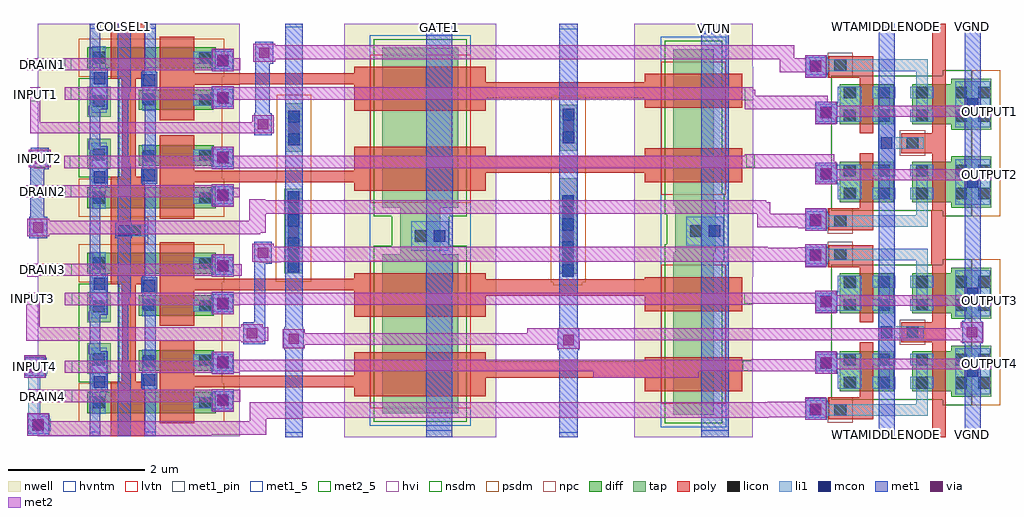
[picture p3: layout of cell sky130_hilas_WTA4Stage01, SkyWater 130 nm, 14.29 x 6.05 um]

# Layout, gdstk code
from math import pi, radians
import gdstk
lib = gdstk.Library(unit=1e-6, precision=1e-09)
def R(c, l, rs):  # rectangles x0, y0, x1, y1
    for r in rs: c.add(gdstk.rectangle(r[:2], r[2:], *l))
def A(c, l, x, y, w, h, nx, ny, dx, dy):  # array of equal rectangles
    R(c, l, [(x+i*dx, y+j*dy, x+i*dx+w, y+j*dy+h) for i in range(nx) for j in range(ny)])
nwell = (64, 20)
diff = (65, 20)
tap = (65, 44)
poly = (66, 20)
licon = (66, 44)
li1 = (67, 20)
mcon = (67, 44)
met1_5 = (68, 5)
met1_pin = (68, 16)
met1 = (68, 20)
via = (68, 44)
met2_5 = (69, 5)
met2 = (69, 20)
hvi = (75, 20)
nsdm = (93, 44)
psdm = (94, 20)
npc = (95, 20)
hvntm = (125, 20)
lvtn = (125, 44)

sky130_hilas_tuncap01 = lib.new_cell('sky130_hilas_TunCap01')
R(sky130_hilas_tuncap01, nwell, [(-14.51,-4,-12.78,-2.1)])
R(sky130_hilas_tuncap01, tap, [(-13.94,-3.67,-13.35,-2.47)])
R(sky130_hilas_tuncap01, poly, [(-14.36,-3.33,-12.93,-2.83)])
R(sky130_hilas_tuncap01, hvi, [(-14.51,-4,-12.78,-2.1)])
R(sky130_hilas_tuncap01, nsdm, [(-14.065,-3.795,-13.225,-2.345)])
R(sky130_hilas_tuncap01, hvntm, [(-14.125,-3.855,-13.165,-2.285)])
R(sky130_hilas_tuncap01, lvtn, [(-14.12,-3.51,-13.17,-2.65)])

sky130_hilas_fgvaractorc = lib.new_cell('sky130_hilas_FGVaractorCapacitor')
R(sky130_hilas_fgvaractorc, nwell, [(-9.57,-3.95,-7.34,-2.1)])
R(sky130_hilas_fgvaractorc, tap, [(-9.01,-3.61,-7.9,-2.44)])
R(sky130_hilas_fgvaractorc, poly, [(-9.41,-3.36,-7.49,-2.72)])
R(sky130_hilas_fgvaractorc, met1, [(-8.92,-3.95,-8.54,-2.09)])
R(sky130_hilas_fgvaractorc, hvi, [(-9.57,-3.95,-7.34,-2.1)])
R(sky130_hilas_fgvaractorc, nsdm, [(-9.135,-3.735,-7.775,-2.315)])
R(sky130_hilas_fgvaractorc, hvntm, [(-9.195,-3.795,-7.715,-2.255)])
R(sky130_hilas_fgvaractorc, lvtn, [(-9.19,-3.54,-7.72,-2.54)])

sky130_hilas_li2m2 = lib.new_cell('sky130_hilas_li2m2')
R(sky130_hilas_li2m2, li1, [(-0.13,-0.12,0.19,-0.09), (-0.13,-0.09,0.2,0.1), (-0.13,0.1,0.19,0.14)])
R(sky130_hilas_li2m2, mcon, [(-0.07,-0.08,0.1,0.09)])
R(sky130_hilas_li2m2, met1, [(-0.14,-0.15,0.18,0.17)])
R(sky130_hilas_li2m2, via, [(-0.055,-0.065,0.095,0.085)])
R(sky130_hilas_li2m2, met2, [(-0.14,-0.15,0.17,0.18)])

sky130_hilas_horizpcell0 = lib.new_cell('sky130_hilas_horizPcell01')
R(sky130_hilas_horizpcell0, nwell, [(-2.89,0.47,-0.34,0.48), (-2.89,0.48,-0.33,2.32)])
R(sky130_hilas_horizpcell0, diff, [(-2.54,0.81,-0.66,1.12), (-2.51,1.43,-1.41,1.73)])
R(sky130_hilas_horizpcell0, tap, [(-1,1.39,-0.66,1.83)])
R(sky130_hilas_horizpcell0, poly, [(-1.5,0.47,-1,1.27), (-2.22,0.66,-1.72,1.19), (-2.89,1.19,-1.72,1.36), (-1.37,1.27,-1.16,1.58), (-2.22,1.36,-1.72,1.88), (-1.37,1.58,-1.17,1.99)])
R(sky130_hilas_horizpcell0, licon, [(-2.465,0.88,-2.295,1.05), (-0.915,0.88,-0.745,1.05), (-1.64,1.49,-1.47,1.66), (-2.465,1.5,-2.295,1.67), (-0.915,1.515,-0.745,1.685)])
R(sky130_hilas_horizpcell0, li1, [(-0.93,0.8,-0.73,1.15), (-2.55,0.88,-2.21,1.05), (-0.93,1.15,-0.72,1.18), (-1.66,1.17,-1.46,1.74), (-0.94,1.18,-0.72,1.77), (-2.55,1.5,-2.21,1.67)])
R(sky130_hilas_horizpcell0, mcon, [(-0.92,1.18,-0.75,1.35), (-1.65,1.21,-1.48,1.38)])
R(sky130_hilas_horizpcell0, met1, [(-1.66,0.47,-1.5,1.15), (-1.29,0.47,-1.1,1.46), (-0.85,0.47,-0.69,1.12), (-0.96,1.12,-0.69,1.67), (-1.66,1.15,-1.46,1.17), (-1.68,1.17,-1.45,1.41), (-1.66,1.41,-1.46,1.63), (-1.27,1.46,-1.1,1.58), (-1.26,1.58,-1.1,2.32), (-1.66,1.63,-1.5,2.32), (-0.96,1.67,-0.68,1.72), (-0.85,1.72,-0.68,1.81), (-0.85,1.81,-0.69,2.32)])
R(sky130_hilas_horizpcell0, met2, [(-2.51,0.97,-0.33,1.15), (-2.89,1.4,-2.8,1.58), (-2.5,1.4,-0.33,1.58)])
R(sky130_hilas_horizpcell0, hvi, [(-2.89,0.47,-0.34,0.48), (-2.89,0.48,-0.33,2.32)])
R(sky130_hilas_horizpcell0, nsdm, [(-1.125,1.265,-0.535,1.955)])
R(sky130_hilas_horizpcell0, psdm, [(-2.665,0.685,-0.535,1.245), (-2.635,1.245,-1.285,1.855)])
sky130_hilas_horizpcell0.add(gdstk.Reference(sky130_hilas_li2m2, (-2.66,1.01), x_reflection=True))
sky130_hilas_horizpcell0.add(gdstk.Reference(sky130_hilas_li2m2, (-2.66,1.56), x_reflection=True))

sky130_hilas_wellcontact = lib.new_cell('sky130_hilas_wellContact')
R(sky130_hilas_wellcontact, nwell, [(-14.49,-4.4,-12.75,-2.56)])
R(sky130_hilas_wellcontact, tap, [(-13.94,-4.05,-13.35,-3.31)])
R(sky130_hilas_wellcontact, licon, [(-13.735,-3.82,-13.565,-3.65)])
R(sky130_hilas_wellcontact, li1, [(-14.06,-3.95,-13.51,-3.52)])
R(sky130_hilas_wellcontact, mcon, [(-14.01,-3.82,-13.84,-3.65)])
R(sky130_hilas_wellcontact, met1, [(-14.12,-4.41,-13.73,-2.55)])
R(sky130_hilas_wellcontact, hvi, [(-14.49,-4.4,-12.75,-2.56)])
R(sky130_hilas_wellcontact, nsdm, [(-14.065,-4.175,-13.225,-3.185)])

sky130_hilas_swc4x1biasc = lib.new_cell('sky130_hilas_swc4x1BiasCell')
R(sky130_hilas_swc4x1biasc, nwell, [(1.12,-3.82,3.35,-3.8), (6.32,-0.88,6.49,-0.72), (6.66,-0.88,6.67,-0.72), (6.32,-0.72,6.67,-0.71), (4.88,-0.21,4.97,-0.13), (-2.64,0.37,-2.63,1.6), (1.12,2.2,3.35,2.23)])
R(sky130_hilas_swc4x1biasc, tap, [(-0.01,-1.47,0.16,-1.43), (-0.06,-1.43,0.2,-0.03), (3.96,-1.42,4.23,-0.18), (3.96,0.36,4.21,1.07), (-0.06,0.37,0.19,1.05)])
R(sky130_hilas_swc4x1biasc, poly, [(3.2,-3.09,4.88,-2.92), (-1.05,-2.95,1.32,-2.71), (-1.07,-1.75,1.3,-1.51), (3.2,-1.67,4.88,-1.5), (6.32,-0.88,6.49,-0.72), (6.65,-0.88,6.67,-0.72), (6.32,-0.72,6.67,-0.71), (3.19,-0.09,4.88,0.08), (-1.07,0.05,1.28,0.29), (-1.07,1.14,1.3,1.38), (3.19,1.35,4.88,1.47), (3.19,1.47,4.89,1.51)])
A(sky130_hilas_swc4x1biasc, licon, -0.01, -1.3, 0.17, 0.17, 1, 3, 0, 0.34)
A(sky130_hilas_swc4x1biasc, licon, 4.01, -1.24, 0.17, 0.17, 1, 3, 0, 0.34)
R(sky130_hilas_swc4x1biasc, licon, [(6.32,-0.88,6.49,-0.71), (4,0.62,4.17,0.79), (-0.02,0.65,0.15,0.82)])
R(sky130_hilas_swc4x1biasc, li1, [(-0.01,-1.47,0.16,-0.28), (4.01,-1.41,4.18,-0.22), (6.23,-0.88,6.67,-0.71), (4,0.45,4.17,0.96), (-0.02,0.48,0.15,0.99)])
A(sky130_hilas_swc4x1biasc, mcon, -0.01, -1.47, 0.17, 0.17, 1, 4, 0, 0.34)
A(sky130_hilas_swc4x1biasc, mcon, 4.01, -1.41, 0.17, 0.17, 1, 4, 0, 0.34)
R(sky130_hilas_swc4x1biasc, mcon, [(6.495,-0.88,6.665,-0.71), (4,0.45,4.17,0.62), (-0.02,0.48,0.15,0.65), (4,0.79,4.17,0.96), (-0.02,0.82,0.15,0.99)])
R(sky130_hilas_swc4x1biasc, met1_5, [(-2.28,-3.82,-1.88,-3.72), (-0.07,-3.82,0.2,-3.75), (1.77,-3.82,2.15,-3.72), (3.96,-3.82,4.21,-3.75), (6.11,-3.81,6.27,-3.74), (6.48,-3.81,6.67,-3.74), (6.92,-3.81,7.08,-3.74), (-2.28,2.09,-1.88,2.23), (1.77,2.13,2.15,2.23), (-0.07,2.15,0.2,2.23), (6.11,2.16,6.27,2.23), (6.92,2.16,7.08,2.23), (3.96,2.18,4.21,2.23)])
R(sky130_hilas_swc4x1biasc, met1_pin, [(6.48,2.16,6.67,2.23)])
R(sky130_hilas_swc4x1biasc, met1, [(-2.28,-3.82,-1.88,2.23), (-0.07,-3.82,0.2,-2.55), (1.77,-3.82,2.15,-3.72), (3.96,-3.82,4.21,-2.54), (6.11,-3.81,6.27,-3.74), (6.48,-3.81,6.67,-3.74), (6.92,-3.81,7.08,-3.74), (-0.09,-2.55,0.22,-2.24), (3.95,-2.54,4.23,-2.52), (3.94,-2.52,4.24,-2.24), (-0.07,-2.24,0.2,2.23), (3.95,-2.24,4.23,-2.21), (3.96,-2.21,4.21,2.23), (6.56,-0.95,6.67,-0.91), (6.46,-0.91,6.7,-0.68), (6.54,-0.68,6.67,-0.66), (1.77,2.13,2.15,2.23), (6.11,2.16,6.27,2.23), (6.48,2.16,6.67,2.23), (6.92,2.16,7.08,2.23)])
R(sky130_hilas_swc4x1biasc, via, [(-0.01,-2.475,0.14,-2.325), (4.015,-2.455,4.165,-2.305)])
R(sky130_hilas_swc4x1biasc, met2_5, [(7.33,-3.31,7.44,-3.13), (7.33,-2.88,7.44,-2.7), (-2.63,-2.85,-2.49,-2.7), (7.33,-1.89,7.44,-1.71), (-2.63,-1.87,-2.51,-1.71), (7.34,-1.46,7.45,-1.28), (7.35,-0.31,7.44,-0.13), (7.36,0.12,7.45,0.3), (-2.66,0.13,-2.54,0.32), (-2.64,1.11,-2.52,1.3), (7.35,1.12,7.44,1.3), (7.35,1.55,7.44,1.73)])
R(sky130_hilas_swc4x1biasc, met2, [(7.33,-3.31,7.44,-3.13), (4.87,-3.3,5,-3.13), (-1.84,-2.95,-0.3,-2.86), (7.33,-2.88,7.44,-2.7), (-2.63,-2.86,5,-2.69), (-0.1,-2.53,0.23,-2.47), (3.93,-2.52,4.25,-2.47), (-0.1,-2.47,4.25,-2.3), (-0.1,-2.3,0.23,-2.27), (3.93,-2.3,4.25,-2.24), (7.33,-1.89,7.44,-1.71), (-2.62,-1.88,5,-1.87), (-2.63,-1.87,5,-1.71), (4.85,-1.46,5,-1.29), (7.34,-1.46,7.45,-1.28), (4.88,-0.31,5,-0.2), (7.35,-0.31,7.44,-0.13), (4.88,-0.2,4.97,-0.17), (-2.66,0.12,5,0.24), (7.36,0.12,7.45,0.3), (-2.66,0.24,4.97,0.3), (-2.66,0.3,-2.52,0.32), (-2.64,1.11,-2.49,1.12), (-2.64,1.12,5.4,1.3), (7.35,1.12,7.44,1.3), (4.87,1.55,5,1.66), (7.35,1.55,7.44,1.73), (4.87,1.66,4.97,1.73)])
R(sky130_hilas_swc4x1biasc, hvi, [(1.12,-3.82,3.35,-3.81), (-2.64,0.37,-2.63,1.6), (1.12,2.22,3.35,2.23)])
R(sky130_hilas_swc4x1biasc, nsdm, [(6.645,-2.325,7.235,-2.265), (6.645,0.675,7.235,0.745)])
R(sky130_hilas_swc4x1biasc, psdm, [(5.135,-2.425,6.485,-2.165), (-0.135,-1.595,0.285,-1.555), (-0.185,-1.555,0.325,0.095), (3.835,-1.545,4.355,-0.055), (3.835,-0.055,4.335,1.195), (-0.185,0.095,0.315,1.175), (5.135,0.575,6.485,0.845)])
R(sky130_hilas_swc4x1biasc, npc, [(6.22,-0.98,6.59,-0.61)])
R(sky130_hilas_swc4x1biasc, hvntm, [(-2.275,-1.305,-2.245,-0.935), (1.495,-0.955,2.975,-0.645), (-2.275,-0.935,-1.285,-0.615), (-2.275,-0.615,-2.245,-0.195)])
R(sky130_hilas_swc4x1biasc, lvtn, [(-2.24,-2.47,-1.29,-2.16), (1.5,-2.4,2.97,-2.24), (-2.24,0.59,-1.29,0.82), (1.5,0.61,2.97,0.78)])
sky130_hilas_swc4x1biasc.add(gdstk.Reference(sky130_hilas_tuncap01, (11.88,0.18)))
sky130_hilas_swc4x1biasc.add(gdstk.Reference(sky130_hilas_tuncap01, (11.88,1.35)))
sky130_hilas_swc4x1biasc.add(gdstk.Reference(sky130_hilas_fgvaractorc, (10.69,0.14)))
sky130_hilas_swc4x1biasc.add(gdstk.Reference(sky130_hilas_fgvaractorc, (10.69,1.3)))
sky130_hilas_swc4x1biasc.add(gdstk.Reference(sky130_hilas_horizpcell0, (7.77,-4.28)))
sky130_hilas_swc4x1biasc.add(gdstk.Reference(sky130_hilas_horizpcell0, (7.77,-0.31), x_reflection=True))
sky130_hilas_swc4x1biasc.add(gdstk.Reference(sky130_hilas_tuncap01, (11.88,3.24)))
sky130_hilas_swc4x1biasc.add(gdstk.Reference(sky130_hilas_wellcontact, (11.85,2.93)))
sky130_hilas_swc4x1biasc.add(gdstk.Reference(sky130_hilas_fgvaractorc, (10.69,3.15)))
sky130_hilas_swc4x1biasc.add(gdstk.Reference(sky130_hilas_wellcontact, (15.88,2.86)))
sky130_hilas_swc4x1biasc.add(gdstk.Reference(sky130_hilas_horizpcell0, (7.77,-1.28)))
sky130_hilas_swc4x1biasc.add(gdstk.Reference(sky130_hilas_tuncap01, (11.88,4.33)))
sky130_hilas_swc4x1biasc.add(gdstk.Reference(sky130_hilas_fgvaractorc, (10.69,4.32)))
sky130_hilas_swc4x1biasc.add(gdstk.Reference(sky130_hilas_horizpcell0, (7.77,2.7), x_reflection=True))
sky130_hilas_swc4x1biasc.add(gdstk.Label('COLSEL1', (6.575,2.195), layer=68, texttype=16))
sky130_hilas_swc4x1biasc.add(gdstk.Label('ROW1', (-2.58,1.205), layer=69, texttype=5))
sky130_hilas_swc4x1biasc.add(gdstk.Label('ROW2', (-2.6,0.225), layer=69, texttype=5))
sky130_hilas_swc4x1biasc.add(gdstk.Label('ROW3', (-2.57,-1.79), layer=69, texttype=5))
sky130_hilas_swc4x1biasc.add(gdstk.Label('ROW4', (-2.56,-2.775), layer=69, texttype=5))
sky130_hilas_swc4x1biasc.add(gdstk.Label('VTUN', (-2.08,2.16), layer=68, texttype=5))
sky130_hilas_swc4x1biasc.add(gdstk.Label('VTUN', (-2.08,-3.77), layer=68, texttype=5))
sky130_hilas_swc4x1biasc.add(gdstk.Label('GATE1', (1.96,-3.77), layer=68, texttype=5))
sky130_hilas_swc4x1biasc.add(gdstk.Label('GATE1', (1.96,2.18), layer=68, texttype=5))
sky130_hilas_swc4x1biasc.add(gdstk.Label('VINJ', (7,2.195), layer=68, texttype=5))
sky130_hilas_swc4x1biasc.add(gdstk.Label('VINJ', (7,-3.775), layer=68, texttype=5))
sky130_hilas_swc4x1biasc.add(gdstk.Label('VPWR', (6.19,2.195), layer=68, texttype=5))
sky130_hilas_swc4x1biasc.add(gdstk.Label('VPWR', (6.19,-3.775), layer=68, texttype=5))
sky130_hilas_swc4x1biasc.add(gdstk.Label('COLSEL1', (6.575,-3.775), layer=68, texttype=5))
sky130_hilas_swc4x1biasc.add(gdstk.Label('DRAIN1', (7.395,1.64), layer=69, texttype=5))
sky130_hilas_swc4x1biasc.add(gdstk.Label('ROW1', (7.395,1.21), layer=69, texttype=5))
sky130_hilas_swc4x1biasc.add(gdstk.Label('ROW2', (7.405,0.21), layer=69, texttype=5))
sky130_hilas_swc4x1biasc.add(gdstk.Label('DRAIN2', (7.395,-0.22), layer=69, texttype=5))
sky130_hilas_swc4x1biasc.add(gdstk.Label('DRAIN3', (7.395,-1.37), layer=69, texttype=5))
sky130_hilas_swc4x1biasc.add(gdstk.Label('ROW3', (7.385,-1.8), layer=69, texttype=5))
sky130_hilas_swc4x1biasc.add(gdstk.Label('ROW4', (7.385,-2.79), layer=69, texttype=5))
sky130_hilas_swc4x1biasc.add(gdstk.Label('DRAIN4', (7.385,-3.22), layer=69, texttype=5))
sky130_hilas_swc4x1biasc.add(gdstk.Label('VGND', (0.065,2.19), layer=68, texttype=5))
sky130_hilas_swc4x1biasc.add(gdstk.Label('VGND', (4.085,2.205), layer=68, texttype=5))
sky130_hilas_swc4x1biasc.add(gdstk.Label('VGND', (0.065,-3.785), layer=68, texttype=5))
sky130_hilas_swc4x1biasc.add(gdstk.Label('VGND', (4.085,-3.785), layer=68, texttype=5))

sky130_hilas_wtasinglest = lib.new_cell('sky130_hilas_WTAsinglestage01')
R(sky130_hilas_wtasinglest, diff, [(1.16,-0.42,1.46,-0.34), (-0.47,-0.34,0.32,0.25), (0.59,-0.34,1.46,0.25), (1.16,0.25,1.46,0.33)])
R(sky130_hilas_wtasinglest, tap, [(1.46,-0.42,1.75,0.33)])
R(sky130_hilas_wtasinglest, poly, [(-0.63,-0.75,0.02,-0.43), (0.88,-0.47,1.08,0.38), (-0.18,-0.43,0.02,0.38), (0.43,0.38,1.08,0.66)])
R(sky130_hilas_wtasinglest, licon, [(-0.55,-0.7,-0.38,-0.53), (-0.41,-0.3,-0.24,-0.13), (0.09,-0.3,0.26,-0.13), (0.65,-0.3,0.82,-0.13), (1.22,-0.3,1.39,-0.13), (1.56,-0.3,1.73,-0.13), (-0.41,0.04,-0.24,0.21), (0.09,0.04,0.26,0.21), (0.65,0.04,0.82,0.21), (1.22,0.04,1.39,0.21), (1.56,0.04,1.73,0.21), (0.51,0.44,0.68,0.61)])
R(sky130_hilas_wtasinglest, li1, [(-0.64,-0.7,0.82,-0.53), (0.65,-0.53,0.82,-0.3), (1.22,-0.38,1.73,0.29), (-0.5,-0.3,-0.16,0.21), (0.01,-0.3,0.34,-0.13), (0.56,-0.3,0.9,-0.13), (0.09,-0.13,0.26,0.04), (0.65,-0.13,0.82,0.04), (0.01,0.04,0.34,0.21), (0.56,0.04,0.9,0.21), (0.09,0.21,0.34,0.44), (0.09,0.44,0.76,0.61), (0.11,0.61,0.32,0.63)])
R(sky130_hilas_wtasinglest, mcon, [(1.39,-0.13,1.56,0.04), (0.13,0.44,0.3,0.61)])
R(sky130_hilas_wtasinglest, met1, [(0.1,-0.76,0.33,0.67), (1.36,-0.76,1.59,0.53)])
R(sky130_hilas_wtasinglest, met2, [(-1.08,-0.72,-0.96,-0.51), (-0.54,-0.02,1.75,0.14)])
R(sky130_hilas_wtasinglest, nsdm, [(1.035,-0.545,1.46,-0.465), (-0.595,-0.465,1.46,0.375), (1.035,0.375,1.46,0.455)])
R(sky130_hilas_wtasinglest, psdm, [(1.46,-0.545,1.875,0.455)])
R(sky130_hilas_wtasinglest, npc, [(-0.65,-0.8,-0.28,-0.43), (0.41,0.34,0.78,0.71)])
sky130_hilas_wtasinglest.add(gdstk.Reference(sky130_hilas_li2m2, (-0.69,0.07)))
sky130_hilas_wtasinglest.add(gdstk.Reference(sky130_hilas_li2m2, (-0.84,-0.61)))

sky130_hilas_wta4stage01 = lib.new_cell('sky130_hilas_WTA4stage01')
R(sky130_hilas_wta4stage01, poly, [(1.42,0.01,1.62,0.3), (1.41,2.29,1.62,3.08), (1.42,5.06,1.62,5.35)])
R(sky130_hilas_wta4stage01, met1, [(0.64,2.58,0.87,2.78), (1.9,2.58,2.13,2.79)])
R(sky130_hilas_wta4stage01, nsdm, [(-0.055,1.145,1.575,1.225), (-0.055,1.225,2,1.365), (-0.055,1.365,1.575,1.445), (-0.055,3.915,1.575,3.995), (-0.055,3.995,2,4.135), (-0.055,4.135,1.575,4.215)])
R(sky130_hilas_wta4stage01, psdm, [(2,1.225,2.415,1.365), (2,3.995,2.415,4.135)])
sky130_hilas_wta4stage01.add(gdstk.Reference(sky130_hilas_wtasinglest, (0.54,0.77)))
sky130_hilas_wta4stage01.add(gdstk.Reference(sky130_hilas_wtasinglest, (0.54,1.82), x_reflection=True))
sky130_hilas_wta4stage01.add(gdstk.Reference(sky130_hilas_wtasinglest, (0.54,4.59), x_reflection=True))
sky130_hilas_wta4stage01.add(gdstk.Reference(sky130_hilas_wtasinglest, (0.54,3.54)))

sky130_hilas_m12m2 = lib.new_cell('sky130_hilas_m12m2')
R(sky130_hilas_m12m2, met1, [(-0.06,-0.1,0.2,0.22)])
R(sky130_hilas_m12m2, via, [(-0.005,-0.015,0.145,0.135)])
R(sky130_hilas_m12m2, met2, [(-0.09,-0.07,0.23,0.19)])

c_sky130_hilas_wta4stage01 = lib.new_cell('sky130_hilas_WTA4Stage01')
R(c_sky130_hilas_wta4stage01, nwell, [(-11.01,-0.42,-10.6,2.54), (-11.12,2.54,-10.6,3.69), (-11.01,3.69,-10.6,5.45), (-11.01,5.45,-10.42,5.46), (-11.01,5.46,-10.6,5.61), (-1.29,5.48,-0.89,5.62), (-5.32,5.52,-4.94,5.62), (-11.01,5.61,-8.05,5.62)])
R(c_sky130_hilas_wta4stage01, poly, [(2.09,-0.43,2.29,-0.18), (2.09,5.16,2.29,5.62)])
R(c_sky130_hilas_wta4stage01, li1, [(-11.15,-0.22,-10.97,0.67)])
R(c_sky130_hilas_wta4stage01, met1_5, [(1.31,-0.43,1.54,-0.37), (2.57,-0.43,2.8,-0.37), (-1.29,5.48,-0.89,5.62), (-5.31,5.52,-4.95,5.62), (-10.25,5.55,-10.09,5.62), (-9.84,5.55,-9.65,5.62), (-9.44,5.55,-9.28,5.62), (1.31,5.56,1.54,5.62), (2.57,5.56,2.8,5.62)])
R(c_sky130_hilas_wta4stage01, met1, [(-5.32,-0.43,-4.94,-0.33), (1.31,-0.43,1.54,-0.18), (2.57,-0.43,2.8,-0.18), (-7.84,0.93,-7.68,2.43), (2.53,0.94,2.83,1.26), (2.53,1.26,2.81,1.27), (2.57,1.27,2.8,1.32), (-11.12,2.54,-10.91,3.69), (-7.82,4.3,-7.61,5.04), (1.31,5.16,1.54,5.62), (2.57,5.16,2.8,5.62), (-1.29,5.48,-0.89,5.62), (-5.32,5.52,-4.94,5.62), (-10.25,5.55,-10.09,5.62), (-9.84,5.55,-9.65,5.62), (-9.44,5.55,-9.28,5.62)])
R(c_sky130_hilas_wta4stage01, via, [(2.6,1.03,2.75,1.18)])
R(c_sky130_hilas_wta4stage01, met2_5, [(-11,0.08,-10.88,0.26), (-11.19,0.47,-10.91,0.74), (2.91,0.56,2.96,0.72), (2.91,1.49,2.96,1.65), (-11.18,1.51,-10.98,1.68), (-11,1.93,-10.88,2.11), (-11,3.08,-10.88,3.26), (2.91,3.33,2.96,3.49), (-11.12,3.52,-10.86,3.78), (2.89,4.26,2.96,4.42), (-11.12,4.49,-10.97,4.69), (-11,4.94,-10.88,5.12)])
R(c_sky130_hilas_wta4stage01, met2, [(-11.14,-0.41,-8.47,-0.4), (-11.14,-0.4,-7.66,-0.2), (-7.9,-0.2,-7.66,-0.16), (-7.9,-0.16,-7.13,-0.15), (-7.9,-0.15,-0.31,-0.14), (-7.9,-0.14,0.23,0.08), (-11.14,0.08,-10.61,0.26), (-0.32,0.08,0.23,0.09), (-11.14,0.26,-10.98,0.27), (-11.19,0.47,-10.91,0.74), (-0.55,0.53,0.39,0.54), (-0.55,0.54,0.45,0.71), (1.72,0.56,2.96,0.72), (2.51,0.96,2.84,0.99), (-11.18,0.98,-7.63,1.18), (-3.84,0.99,2.84,1.16), (2.51,1.16,2.84,1.25), (-11.18,1.18,-10.98,1.68), (1.7,1.49,2.96,1.65), (-0.56,1.52,0.44,1.68), (-11.16,1.92,-11,1.93), (-11.16,1.93,-10.61,2.11), (-7.77,2.13,-7.45,2.14), (-7.77,2.14,0.24,2.34), (-7.77,2.34,-0.32,2.36), (-11.12,2.54,-7.75,2.56), (-11.12,2.56,-7.67,2.74), (-0.47,2.64,0.24,2.84), (-7.91,2.74,-7.67,2.84), (-7.91,2.84,-0.28,3.01), (-7.91,3.01,-0.34,3.04), (-7.91,3.04,-7.68,3.05), (-11.18,3.08,-10.61,3.26), (1.7,3.33,2.96,3.49), (-11.07,3.51,-10.9,3.52), (-0.55,3.51,0.66,3.71), (-11.12,3.52,-10.86,3.78), (-11.12,4.02,-7.69,4.18), (-11.12,4.18,-10.97,4.69), (1.7,4.26,2.96,4.42), (-0.65,4.37,0.56,4.57), (-0.54,4.57,-0.5,4.66), (-0.14,4.91,0.24,5.1), (-11.16,4.94,-10.61,5.12), (-7.58,5.1,0.24,5.12), (-7.58,5.12,0.07,5.31)])
R(c_sky130_hilas_wta4stage01, hvi, [(-11.01,-0.42,-10.6,-0.41), (-11.01,-0.41,-10.61,2.54), (-11.12,2.54,-10.61,3.69), (-11.01,3.69,-10.61,5.61), (-11.01,5.61,-10.6,5.62)])
c_sky130_hilas_wta4stage01.add(gdstk.Reference(sky130_hilas_swc4x1biasc, (-3.17,3.39), rotation=pi, x_reflection=True))
c_sky130_hilas_wta4stage01.add(gdstk.Reference(sky130_hilas_wta4stage01, (0.67,-0.19)))
c_sky130_hilas_wta4stage01.add(gdstk.Reference(sky130_hilas_m12m2, (-11.07,2.58)))
c_sky130_hilas_wta4stage01.add(gdstk.Reference(sky130_hilas_m12m2, (-11.05,3.59)))
c_sky130_hilas_wta4stage01.add(gdstk.Reference(sky130_hilas_li2m2, (-11.07,0.59)))
c_sky130_hilas_wta4stage01.add(gdstk.Reference(sky130_hilas_li2m2, (-11.02,-0.26)))
c_sky130_hilas_wta4stage01.add(gdstk.Reference(sky130_hilas_m12m2, (-7.76,5.14)))
c_sky130_hilas_wta4stage01.add(gdstk.Reference(sky130_hilas_m12m2, (-7.78,4.09)))
c_sky130_hilas_wta4stage01.add(gdstk.Reference(sky130_hilas_m12m2, (-7.94,1.03)))
c_sky130_hilas_wta4stage01.add(gdstk.Reference(sky130_hilas_m12m2, (-7.78,2.21)))
c_sky130_hilas_wta4stage01.add(gdstk.Label('VGND', (2.685,5.59), layer=68, texttype=5))
c_sky130_hilas_wta4stage01.add(gdstk.Label('VGND', (2.685,-0.4), layer=68, texttype=5))
c_sky130_hilas_wta4stage01.add(gdstk.Label('OUTPUT1', (2.925,4.34), layer=69, texttype=5))
c_sky130_hilas_wta4stage01.add(gdstk.Label('OUTPUT2', (2.935,3.41), layer=69, texttype=5))
c_sky130_hilas_wta4stage01.add(gdstk.Label('OUTPUT3', (2.935,1.57), layer=69, texttype=5))
c_sky130_hilas_wta4stage01.add(gdstk.Label('OUTPUT4', (2.935,0.64), layer=69, texttype=5))
c_sky130_hilas_wta4stage01.add(gdstk.Label('INPUT1', (-11.045,4.59), layer=69, texttype=5))
c_sky130_hilas_wta4stage01.add(gdstk.Label('INPUT2', (-10.99,3.65), layer=69, texttype=5))
c_sky130_hilas_wta4stage01.add(gdstk.Label('INPUT3', (-11.08,1.595), layer=69, texttype=5))
c_sky130_hilas_wta4stage01.add(gdstk.Label('INPUT4', (-11.05,0.605), layer=69, texttype=5))
c_sky130_hilas_wta4stage01.add(gdstk.Label('DRAIN1', (-10.94,5.03), layer=69, texttype=5))
c_sky130_hilas_wta4stage01.add(gdstk.Label('DRAIN2', (-10.94,3.17), layer=69, texttype=5))
c_sky130_hilas_wta4stage01.add(gdstk.Label('DRAIN3', (-10.94,2.02), layer=69, texttype=5))
c_sky130_hilas_wta4stage01.add(gdstk.Label('DRAIN4', (-10.94,0.17), layer=69, texttype=5))
c_sky130_hilas_wta4stage01.add(gdstk.Label('GATE1', (-5.13,5.57), layer=68, texttype=5))
c_sky130_hilas_wta4stage01.add(gdstk.Label('VTUN', (-1.09,5.55), layer=68, texttype=5))
c_sky130_hilas_wta4stage01.add(gdstk.Label('WTAMIDDLENODE', (1.425,-0.4), layer=68, texttype=5))
c_sky130_hilas_wta4stage01.add(gdstk.Label('WTAMIDDLENODE', (1.425,5.59), layer=68, texttype=5))
c_sky130_hilas_wta4stage01.add(gdstk.Label('COLSEL1', (-9.745,5.585), layer=68, texttype=5))
c_sky130_hilas_wta4stage01.add(gdstk.Label('VPWR', (-9.36,5.585), layer=68, texttype=5))
c_sky130_hilas_wta4stage01.add(gdstk.Label('VINJ', (-10.17,5.585), layer=68, texttype=5))

lib.write_gds('sky130_hilas_WTA4Stage01.gds')
